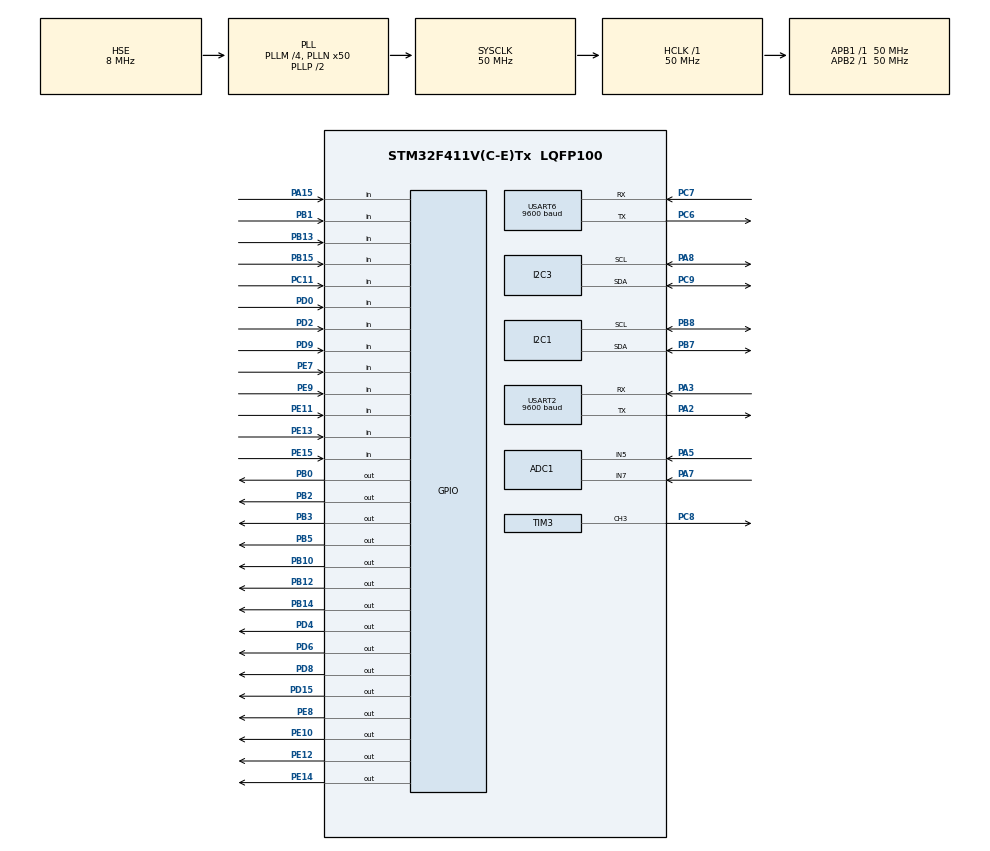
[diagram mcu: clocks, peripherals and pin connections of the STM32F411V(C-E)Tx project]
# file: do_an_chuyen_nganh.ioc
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Mcu.Family=STM32F4
PB10.PinState=GPIO_PIN_SET
PE15.GPIO_Mode=GPIO_MODE_INPUT
PE7.GPIO_PuPd=GPIO_PULLUP
PE8.PinState=GPIO_PIN_SET
PB15.GPIO_Mode=GPIO_MODE_INPUT
PE14.GPIO_Speed=GPIO_SPEED_FREQ_HIGH
RCC.CortexFreq_Value=50000000
PB10.GPIO_Speed=GPIO_SPEED_FREQ_HIGH
PA15.GPIO_Mode=GPIO_MODE_INPUT
PD15.GPIO_Speed=GPIO_SPEED_FREQ_LOW
PB2.GPIO_Speed=GPIO_SPEED_FREQ_HIGH
PD2.GPIO_Mode=GPIO_MODE_INPUT
PD8.GPIO_PuPd=GPIO_PULLDOWN
PB13.Signal=GPIO_Input
PB15.Signal=GPIO_Input
PB3.GPIO_Speed=GPIO_SPEED_FREQ_HIGH
RCC.SYSCLKSource=RCC_SYSCLKSOURCE_PLLCLK
ProjectManager.StackSize=0x400
PE13.GPIO_Mode=GPIO_MODE_INPUT
PC11.GPIO_PuPd=GPIO_PULLUP
PH0\ -\ OSC_IN.Signal=RCC_OSC_IN
PB0.PinState=GPIO_PIN_SET
PE11.GPIO_PuPd=GPIO_PULLUP
PB3.PinState=GPIO_PIN_SET
PB1.GPIO_PuPd=GPIO_PULLUP
RCC.HCLKFreq_Value=50000000
PB13.GPIO_Mode=GPIO_MODE_INPUT
PD4.Signal=GPIO_Output
RCC.APB2TimFreq_Value=50000000
TIM3.Period=999
Dma.ADC1.0.Direction=DMA_PERIPH_TO_MEMORY
ADC1.Channel-2\#ChannelRegularConversion=ADC_CHANNEL_7
PC7.Signal=USART6_RX
PB5.PinState=GPIO_PIN_SET
PB12.PinState=GPIO_PIN_SET
PD0.Signal=GPIO_Input
PD8.Signal=GPIO_Output
NVIC.DMA2_Stream0_IRQn=true\:0\:0\:false\:false\:true\:false\:true
PE14.PinState=GPIO_PIN_SET
Dma.ADC1.0.MemDataAlignment=DMA_MDATAALIGN_HALFWORD
RCC.AHBFreq_Value=50000000
TIM3.Pulse-PWM\ Generation3\ CH3=500
RCC.HSE_VALUE=8000000
PB2.Signal=GPIO_Output
PE13.GPIO_PuPd=GPIO_PULLUP
PD15.PinState=GPIO_PIN_RESET
ADC1.Rank-2\#ChannelRegularConversion=2
PE13.Signal=GPIO_Input
PE9.Signal=GPIO_Input
PA14.Mode=Serial_Wire
TIM3.Prescaler=999
Dma.ADC1.0.PeriphInc=DMA_PINC_DISABLE
PC9.Mode=I2C
PD6.PinState=GPIO_PIN_SET
PB7.Signal=I2C1_SDA
PA8.Signal=I2C3_SCL
PE10.GPIO_Speed=GPIO_SPEED_FREQ_HIGH
PE10.Signal=GPIO_Output
PE9.GPIO_Mode=GPIO_MODE_INPUT
Mcu.Package=LQFP100
PB1.Signal=GPIO_Input
PB15.GPIO_PuPd=GPIO_PULLUP
USART2.VirtualMode=VM_ASYNC
USART6.VirtualMode=VM_ASYNC
PA15.Signal=GPIO_Input
USART6.BaudRate=9600
PE12.GPIO_Speed=GPIO_SPEED_FREQ_HIGH
PB5.GPIO_Speed=GPIO_SPEED_FREQ_HIGH
PE8.GPIO_Speed=GPIO_SPEED_FREQ_HIGH
RCC.APB1TimFreq_Value=50000000
PD0.GPIO_Mode=GPIO_MODE_INPUT
Dma.ADC1.0.FIFOMode=DMA_FIFOMODE_DISABLE
PE7.Signal=GPIO_Input
PD6.Signal=GPIO_Output
Dma.Request0=ADC1
PD9.GPIO_PuPd=GPIO_PULLUP
PD15.Signal=GPIO_Output
VP_TIM3_VS_ClockSourceINT.Mode=Internal
PA3.Signal=USART2_RX
PE10.PinState=GPIO_PIN_SET
RCC.PLLSourceVirtual=RCC_PLLSOURCE_HSE
Dma.ADC1.0.Instance=DMA2_Stream0
PD2.GPIO_PuPd=GPIO_PULLUP
PC11.Signal=GPIO_Input
PD9.GPIO_Mode=GPIO_MODE_INPUT
PH1\ -\ OSC_OUT.Mode=HSE-External-Oscillator
PC8.Signal=S_TIM3_CH3
PC6.Signal=USART6_TX
PD9.Signal=GPIO_Input
SH.S_TIM3_CH3.0=TIM3_CH3,PWM Generation3 CH3
NVIC.USART2_IRQn=true\:0\:0\:false\:false\:true\:true\:true
USART2.BaudRate=9600
ADC1.SamplingTime-2\#ChannelRegularConversion=ADC_SAMPLETIME_144CYCLES
NVIC.USART6_IRQn=true\:0\:0\:false\:false\:true\:true\:true
PB0.GPIO_Speed=GPIO_SPEED_FREQ_HIGH
PA3.Mode=Asynchronous
PA13.Signal=SYS_JTMS-SWDIO
TIM3.Channel-PWM\ Generation3\ CH3=TIM_CHANNEL_3
PD4.PinState=GPIO_PIN_SET
Dma.ADC1.0.PeriphDataAlignment=DMA_PDATAALIGN_HALFWORD
PH0\ -\ OSC_IN.Mode=HSE-External-Oscillator
PB14.PinState=GPIO_PIN_SET
ProjectManager.TargetToolchain=STM32CubeIDE
PB14.GPIO_Speed=GPIO_SPEED_FREQ_HIGH
SH.ADCx_IN7.0=ADC1_IN7,IN7
Dma.ADC1.0.Mode=DMA_NORMAL
PC6.Mode=Asynchronous
Dma.ADC1.0.Priority=DMA_PRIORITY_LOW
PB1.GPIO_Mode=GPIO_MODE_INPUT
ADC1.Channel-1\#ChannelRegularConversion=ADC_CHANNEL_5
PE11.Signal=GPIO_Input
RCC.LSE_VALUE=32768
PB12.GPIO_Speed=GPIO_SPEED_FREQ_HIGH
PE7.GPIO_Mode=GPIO_MODE_INPUT
PB10.Signal=GPIO_Output
PB14.Signal=GPIO_Output
PA5.Signal=ADCx_IN5
PH1\ -\ OSC_OUT.Signal=RCC_OSC_OUT
board=custom
RCC.VCOOutputFreq_Value=100000000
PB13.GPIO_PuPd=GPIO_PULLUP
RCC.APB2Freq_Value=50000000
PE14.Signal=GPIO_Output
PE15.Signal=GPIO_Input
PE8.Signal=GPIO_Output
PD4.GPIO_Speed=GPIO_SPEED_FREQ_HIGH
PC11.GPIO_Mode=GPIO_MODE_INPUT
PE11.GPIO_Mode=GPIO_MODE_INPUT
ADC1.NbrOfConversion=2
PA13.Mode=Serial_Wire
Mcu.Name=STM32F411V(C-E)Tx
PB2.PinState=GPIO_PIN_SET
PE12.Signal=GPIO_Output
PA2.Signal=USART2_TX
PE12.PinState=GPIO_PIN_SET
RCC.48MHZClocksFreq_Value=25000000
PB3.Signal=GPIO_Output
ADC1.SamplingTime-1\#ChannelRegularConversion=ADC_SAMPLETIME_144CYCLES
RCC.SYSCLKFreq_VALUE=50000000
PB5.Signal=GPIO_Output
ADC1.master=1
ADC1.Rank-1\#ChannelRegularConversion=1
PB7.Mode=I2C
PA14.Signal=SYS_JTCK-SWCLK
Dma.ADC1.0.MemInc=DMA_MINC_ENABLE
PE15.GPIO_PuPd=GPIO_PULLUP
ProjectManager.HeapSize=0x200
PD0.GPIO_PuPd=GPIO_PULLUP
RCC.HSI_VALUE=16000000
PD8.GPIO_Speed=GPIO_SPEED_FREQ_LOW
SH.ADCx_IN5.0=ADC1_IN5,IN5
NVIC.PriorityGroup=NVIC_PRIORITYGROUP_4
ADC1.NbrOfConversionFlag=1
RCC.PLLM=4
PB8.Mode=I2C
RCC.PLLN=50
PA15.GPIO_PuPd=GPIO_PULLUP
PA2.Mode=Asynchronous
PB8.Signal=I2C1_SCL
PA8.Mode=I2C
PC9.Signal=I2C3_SDA
PC7.Mode=Asynchronous
PD2.Signal=GPIO_Input
RCC.APB1Freq_Value=50000000
PD6.GPIO_Speed=GPIO_SPEED_FREQ_HIGH
PB0.Signal=GPIO_Output
PB12.Signal=GPIO_Output
PA7.Signal=ADCx_IN7
PE9.GPIO_PuPd=GPIO_PULLUP

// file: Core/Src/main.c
/* USER CODE BEGIN Header */
/**
  ******************************************************************************
  * @file           : main.c
  * @brief          : Main program body
  ******************************************************************************
  * @attention
  *
  * <h2><center>&copy; Copyright (c) 2021 STMicroelectronics.
  * All rights reserved.</center></h2>
  *
  * This software component is licensed by ST under BSD 3-Clause license,
  * the "License"; You may not use this file except in compliance with the
  * License. You may obtain a copy of the License at:
  *                        opensource.org/licenses/BSD-3-Clause
  *
  ******************************************************************************
  */
/* USER CODE END Header */
#include "main.h"

/* USER CODE BEGIN Includes */
#include "stdio.h"
#include <stdbool.h>
#include <stdint.h>
#include <string.h>
#include <stdlib.h>
#include <i2c-lcd.h>
/* USER CODE END Includes */

ADC_HandleTypeDef hadc1;
DMA_HandleTypeDef hdma_adc1;

I2C_HandleTypeDef hi2c1;
I2C_HandleTypeDef hi2c3;

TIM_HandleTypeDef htim3;

UART_HandleTypeDef huart2;
UART_HandleTypeDef huart6;

/* USER CODE BEGIN PV */
#ifdef __GNUC__
     #define PUTCHAR_PROTOTYPE int __io_putchar(int ch)
#else
     #define PUTCHAR_PROTOTYPE int fputc(int ch, FILE *f)
#endif
PUTCHAR_PROTOTYPE
{
	HAL_UART_Transmit(&huart6,(uint8_t *)&ch,1,0xFFFF); //pc
	return ch;
}
uint8_t key;
int x = 0;
int y = 1;
char buffer [100] ;
char time_buffer[10];
char timer [20];
char pass [10] = "1234" ;
uint16_t value[2];
#define size 500
uint8_t rx_data6, rx_index6;   ////////du lieu nhan luu vao rx_data6
char rx_buffer6[size];
uint8_t rx_data2, rx_index2;   ////////du lieu nhan luu vao rx_data2
char rx_buffer2[size];
uint16_t temp =0, gas = 0;
char DATA[100];
char Str_temp[100];
char Str_gas[100];
int TTTB1 = 0,  TTTB2 = 0, TTTB3 = 0, TTTB4 = 0, TTTB5 = 0,  TTTB6 = 0;
char Str_TB1[5], Str_TB2[5], Str_TB3[5], Str_TB4[5], Str_TB5[5], Str_TB6[5] ;
long last = 0 ;
char Length[100];
uint8_t decToBcd(uint8_t t);
uint8_t bcdToDec(uint8_t t);
#define DS3231_ADDRESS (0x68<<1)
#define DS3231_REG_TIME (0X00)
#define DS3231_REG_ALARM_1 (0X07)
#define DS3231_REG_ALARM_2 (0X0B)
#define DS3231_REG_CONTROL (0X0E)
#define DS3231_REG_STATUS  (0X0F)
uint8_t decToBcd(uint8_t t) 						//đổi số thập phân bình thư�?ng thành số thập phân được mã hóa nhị phân
{
  return (t/10)<<4 | (t%10);
}
uint8_t bcdToDec(uint8_t t)						//đổi số thập phân được mã hóa nhị phân thành số thập phân bình thư�?ng
{
  return (t>>4)*10 + (t&0x0f);
}
typedef struct									//khai báo 1 struct để phục vụ cho việc đ�?c ghi dữ liệu th�?i gian thực
{
	uint8_t seconds ;
	uint8_t minutes ;
	uint8_t hour ;
	uint8_t day ;
	uint8_t date  ;
	uint8_t month ;
	uint8_t year ;

}TIME;
TIME time1 ;

void Set_Time (uint8_t sec, uint8_t min, uint8_t hour, uint8_t day, uint8_t date, uint8_t month, uint8_t year)
{
	uint8_t set_time1[7];
	set_time1[0] = decToBcd(sec);
	set_time1[1] = decToBcd(min);
	set_time1[2] = decToBcd(hour);
	set_time1[3] = decToBcd(day);
	set_time1[4] = decToBcd(date);
	set_time1[5] = decToBcd(month);
	set_time1[6] = decToBcd(year);

	HAL_I2C_Mem_Write(&hi2c3, DS3231_ADDRESS, 0x00, 1, set_time1, 7, 1000);
}
void Get_Time (void)
{
	uint8_t get_time[7];
	HAL_I2C_Mem_Read(&hi2c3, DS3231_ADDRESS, 0x00, 1, get_time, 7, 1000);
	time1.seconds = bcdToDec(get_time[0]);
	time1.minutes = bcdToDec(get_time[1]);
	time1.hour = bcdToDec(get_time[2]);
	time1.day = bcdToDec(get_time[3]);
	time1.date = bcdToDec(get_time[4]);
	time1.month = bcdToDec(get_time[5]);
	time1.year = bcdToDec(get_time[6]);
}
/* USER CODE END PV */

void SystemClock_Config(void);
static void MX_GPIO_Init(void);
static void MX_DMA_Init(void);
static void MX_ADC1_Init(void);
static void MX_I2C1_Init(void);
static void MX_I2C3_Init(void);
static void MX_TIM3_Init(void);
static void MX_USART2_UART_Init(void);
static void MX_USART6_UART_Init(void);
/* USER CODE BEGIN PFP */
void SendData(void);
void 	ReceivedEnd(void);
void HAL_UART_RxCpltCallback(UART_HandleTypeDef *huart);
void clearbufferEnd(void);
void XuLy(void);
void Button(void);
void cambien(void);
char keypad(void);
void CheckPass (void);
void clearBuffer(void);
void RtC(void);
void Data( unsigned int temp, unsigned int gas, unsigned int TB1 , unsigned int TB2,  unsigned int TB3,  unsigned int TB4, unsigned int TB5, unsigned int TB6);

/* USER CODE END PFP */

/* USER CODE BEGIN 0 */
void clearBuffer()
{
	for(int i = 0 ; i < 100 ; i++)
							{
								buffer[i] = 0 ;
							}
					y=1;
					key =0;
							lcd_clear ();
							keypad();
}
void CheckPass  ()
{
	int compare = 1;
	compare = strcmp (buffer, pass);
	if(compare == 0)
	{
		lcd_clear();
		lcd_put_cur(1,3);
		lcd_send_string ("Open Door");
		HAL_Delay(1000);
		clearBuffer();
		__HAL_TIM_SET_COMPARE(&htim3, TIM_CHANNEL_3, 125);

	}
	else
	{
		lcd_clear();
		lcd_put_cur(1,5);
		lcd_send_string ("ERORR");
		HAL_Delay(1000);
		clearBuffer();

	}
}
char keypad()
{
	HAL_GPIO_WritePin  (GPIOB,GPIO_PIN_5,GPIO_PIN_RESET);   // Kéo R1 xuống thấp
	HAL_GPIO_WritePin  (GPIOB,GPIO_PIN_3,GPIO_PIN_SET);   // Kéo R2 cao
	HAL_GPIO_WritePin  (GPIOD,GPIO_PIN_6,GPIO_PIN_SET);   // Kéo R3 cao
	HAL_GPIO_WritePin  (GPIOD,GPIO_PIN_4,GPIO_PIN_SET);   // Kéo R4 cao

	if  ( (HAL_GPIO_ReadPin(GPIOD,GPIO_PIN_2))==0)    // nếu Col 1 thấp
	{
		return  '1' ;
	}

	if  (  (HAL_GPIO_ReadPin(GPIOD,GPIO_PIN_0))==0)    // nếu Col 2 thấp
	{
		return  '2';
	}

	if  (  (HAL_GPIO_ReadPin  (GPIOC,GPIO_PIN_11))==0)    // nếu Col 3 thấp
	{
		return  '3';
	}

	if  (  (HAL_GPIO_ReadPin  (GPIOA,GPIO_PIN_15))==0)    // nếu Col 4 thấp
	{
		CheckPass();
		clearBuffer();
		return 0;
	}
	HAL_GPIO_WritePin  (GPIOB,GPIO_PIN_5,GPIO_PIN_SET);
		HAL_GPIO_WritePin  (GPIOB,GPIO_PIN_3,GPIO_PIN_RESET);
		HAL_GPIO_WritePin  (GPIOD,GPIO_PIN_6,GPIO_PIN_SET);
		HAL_GPIO_WritePin  (GPIOD,GPIO_PIN_4,GPIO_PIN_SET);

		if  ( (HAL_GPIO_ReadPin(GPIOD,GPIO_PIN_2))==0)
		{
			return  '4' ;
		}

		if  (  (HAL_GPIO_ReadPin(GPIOD,GPIO_PIN_0))==0)
		{
			return  '5';
		}

		if  (  (HAL_GPIO_ReadPin  (GPIOC,GPIO_PIN_11))==0)
		{
			return  '6';
		}

		if  (  (HAL_GPIO_ReadPin  (GPIOA,GPIO_PIN_15))==0)
		{
			if(x>0)
			{
				HAL_Delay (200);
				buffer [strlen (buffer) - 1] = 0;
				lcd_clear();
				lcd_put_cur(1,1);
				lcd_send_string (buffer);
				y--;
				key=0;
			}
			return 0;
		}
		HAL_GPIO_WritePin  (GPIOB,GPIO_PIN_5,GPIO_PIN_SET);
			HAL_GPIO_WritePin  (GPIOB,GPIO_PIN_3,GPIO_PIN_SET);
			HAL_GPIO_WritePin  (GPIOD,GPIO_PIN_6,GPIO_PIN_RESET);
			HAL_GPIO_WritePin  (GPIOD,GPIO_PIN_4,GPIO_PIN_SET);

			if  ( (HAL_GPIO_ReadPin(GPIOD,GPIO_PIN_2))==0)
			{
				return  '7' ;
			}

			if  (  (HAL_GPIO_ReadPin(GPIOD,GPIO_PIN_0))==0)
			{
				return  '8';
			}

			if  (  (HAL_GPIO_ReadPin  (GPIOC,GPIO_PIN_11))==0)
			{
				return  '9';
			}

			if  (  (HAL_GPIO_ReadPin  (GPIOA,GPIO_PIN_15))==0)
			{
				clearBuffer();
				return 0;
			}
			HAL_GPIO_WritePin  (GPIOB,GPIO_PIN_5,GPIO_PIN_SET);
				HAL_GPIO_WritePin  (GPIOB,GPIO_PIN_3,GPIO_PIN_SET);
				HAL_GPIO_WritePin  (GPIOD,GPIO_PIN_6,GPIO_PIN_SET);
				HAL_GPIO_WritePin  (GPIOD,GPIO_PIN_4,GPIO_PIN_RESET);

				if  ( (HAL_GPIO_ReadPin(GPIOD,GPIO_PIN_2))==0)
				{
					return  '*' ;
				}

				if  (  (HAL_GPIO_ReadPin(GPIOD,GPIO_PIN_0))==0)
				{
					return  '0';
				}

				if  (  (HAL_GPIO_ReadPin  (GPIOC,GPIO_PIN_11))==0)
				{
					return  '#';
				}

				if  (  (HAL_GPIO_ReadPin  (GPIOA,GPIO_PIN_15))==0)
				{
					__HAL_TIM_SET_COMPARE(&htim3, TIM_CHANNEL_3, 25);

						return 0;
				}
}
void matkhau(void )
{
		keypad();
		  key = keypad();
		  if (HAL_GPIO_ReadPin(GPIOD,GPIO_PIN_2)==0 || HAL_GPIO_ReadPin(GPIOD,GPIO_PIN_0)==0 ||HAL_GPIO_ReadPin (GPIOC,GPIO_PIN_11)==0||HAL_GPIO_ReadPin (GPIOA,GPIO_PIN_15)==0)
		  {
		x = strlen (buffer);
		for ( int i = x; i<=x +1; i ++)
			buffer[x]= key  ;
		  }
		  lcd_put_cur(0,1);
		  lcd_send_string ("Enter Password ");
		  lcd_put_cur(1,1);
		  lcd_send_string (buffer);
//		  y = strlen (buffer);
//		 		  if(y==4)
//		 		  {
//		 			  CheckPass  ();
//		 		  }
		  HAL_Delay(150);
}

void RtC()
{
	Get_Time();
	sprintf(time_buffer, "%d:%d", time1.hour, time1.minutes);
	lcd_put_cur1(2,7);
	lcd_send_string1(time_buffer);
	printf("time :: %d:%d:%d   ", time1.hour, time1.minutes, time1.seconds);
	sprintf (time_buffer, "%02d-%02d-%02d", time1.date, time1.month, time1.year + 2000);
	lcd_put_cur1(3,0);
	lcd_send_string1(time_buffer);
	printf("date :: %d:%d:%d \r\n", time1.date, time1.month, time1.year + 2000);
}
void cambien()
{
	HAL_ADC_Start_DMA(&hadc1,(uint32_t*)value,2);
	temp = value[0]*0.0732 - 3;
	gas = value[1]*0.02442;
	printf("gas: %d\n", gas );
	printf("temp: %d\n", temp );
	lcd_put_cur1(0,0);
	lcd_send_string1("temp: ");
	lcd_put_cur1(0,7);
	lcd_send_string1 (temp);
	lcd_put_cur1(0,10);
	lcd_send_string1 (" C");
	lcd_put_cur1(0,8);
	lcd_send_string1 ("gas: ");
	lcd_put_cur1(0,14);
	lcd_send_string1 (gas);
	lcd_put_cur1(0,18);
	lcd_send_string1 ("%");
	if(temp>50||gas>25)
	{
		HAL_GPIO_WritePin(GPIOD, GPIO_PIN_8, SET);
	}
	else
	{
		HAL_GPIO_WritePin(GPIOD, GPIO_PIN_8, RESET);
	}
}
void Button()
{
	if(HAL_GPIO_ReadPin(GPIOB, GPIO_PIN_1) == 0)  // den1
		{
			HAL_Delay(10);
			while(1)
			{

				last = HAL_GetTick();
				if(HAL_GPIO_ReadPin(GPIOB, GPIO_PIN_1) == 1)
				{
					if(TTTB1 == 0)
					{
						TTTB1 = 1; //TB1 = 1;
						HAL_GPIO_WritePin(GPIOB, GPIO_PIN_0, RESET);
					}
					else if(TTTB1 == 1)
					{
						TTTB1 = 0;//TB1 = 0;
						 HAL_GPIO_WritePin(GPIOB, GPIO_PIN_0, SET);
					}
					HAL_Delay(10);
					break;
				}
			}
		}

		if(HAL_GPIO_ReadPin(GPIOE, GPIO_PIN_7) == 0)     //quat 1
		{
			HAL_Delay(10);
			while(1)
			{
				last = HAL_GetTick();
				if(HAL_GPIO_ReadPin(GPIOE, GPIO_PIN_7) == 1)
				{
					if(TTTB2 == 0)
					{
						TTTB2 = 1; //TB2 = 1;
						HAL_GPIO_WritePin(GPIOE, GPIO_PIN_12, RESET);
					}
					else if(TTTB2 == 1)
					{
						TTTB2 = 0; //TB2 = 0;
						HAL_GPIO_WritePin(GPIOE, GPIO_PIN_12, SET);
					}
					HAL_Delay(10);

					break;

				}
			}
		}
		if(HAL_GPIO_ReadPin(GPIOE, GPIO_PIN_13) == 0)		//den 2          ///////////////
			{
				HAL_Delay(10);
				while(1)
				{

					last = HAL_GetTick();
					if(HAL_GPIO_ReadPin(GPIOE, GPIO_PIN_13) == 1)
					{
						if(TTTB3 == 0)
						{
							TTTB3 = 1; //TB3 = 1;
							HAL_GPIO_WritePin(GPIOB, GPIO_PIN_2, RESET);
						}
						else if(TTTB3 == 1)
						{
							TTTB3 = 0;  //TB3 = 0;
							 HAL_GPIO_WritePin(GPIOB, GPIO_PIN_2, SET);
						}
						HAL_Delay(10);
						break;
					}
				}
			}
		if(HAL_GPIO_ReadPin(GPIOE, GPIO_PIN_15) == 0)		//quat2
				{
					HAL_Delay(10);
					while(1)
					{

						last = HAL_GetTick();
						if(HAL_GPIO_ReadPin(GPIOE, GPIO_PIN_15) == 1)
						{
							if(TTTB4 == 0)
							{
								TTTB4 = 1; //TB4 = 1;
								HAL_GPIO_WritePin(GPIOE, GPIO_PIN_14, RESET);///////////////
							}
							else if(TTTB4 == 1)
							{
								TTTB4 = 0;   //TB4 = 0;
								 HAL_GPIO_WritePin(GPIOE, GPIO_PIN_14, SET);
							}
							HAL_Delay(10);
							break;
						}
					}
				}

		if(HAL_GPIO_ReadPin(GPIOE, GPIO_PIN_9) == 0)		//den3
					{
						HAL_Delay(10);
						while(1)
						{

							last = HAL_GetTick();
							if(HAL_GPIO_ReadPin(GPIOE, GPIO_PIN_9) == 1)
							{
								if(TTTB5 == 0)
								{
									TTTB5 = 1;     //TB5=1;
									HAL_GPIO_WritePin(GPIOE, GPIO_PIN_8, RESET);
								}
								else if(TTTB5 == 1)
								{
									TTTB5 = 0;         // TB5=0;
									 HAL_GPIO_WritePin(GPIOE, GPIO_PIN_8, SET);
								}
								HAL_Delay(10);
								break;
							}
						}
					}
		if(HAL_GPIO_ReadPin(GPIOE, GPIO_PIN_11) == 0)		//quat 3
					{
						HAL_Delay(10);
						while(1)
						{

							last = HAL_GetTick();
							if(HAL_GPIO_ReadPin(GPIOE, GPIO_PIN_11) == 1)
							{
								if(TTTB6 == 0)
								{
									TTTB6= 1;
									//TB6= 1;
									HAL_GPIO_WritePin(GPIOB, GPIO_PIN_10, RESET);
								}
								else if(TTTB6 == 1)
								{
									TTTB6 = 0;
									//TB6=0;
									 HAL_GPIO_WritePin(GPIOB, GPIO_PIN_10, SET);
								}
								HAL_Delay(10);
								break;
							}
						}
					}
	if(HAL_GPIO_ReadPin(GPIOB, GPIO_PIN_13)==1)
		  {
			  HAL_GPIO_WritePin(GPIOE, GPIO_PIN_10, RESET);

			  HAL_GPIO_WritePin(GPIOB, GPIO_PIN_12, RESET);
		  }
	else
		  {
			  HAL_GPIO_WritePin(GPIOE, GPIO_PIN_10, SET);

			  HAL_GPIO_WritePin(GPIOB, GPIO_PIN_12, SET);
		  }
	last = HAL_GetTick();
}
void XuLy()
{
	if(strstr(rx_buffer2,"TB1=1") != NULL)
		{
			if(TTTB1==0)
			{
				TTTB1=1;
				//TB1=1;
				HAL_GPIO_WritePin(GPIOB, GPIO_PIN_0, GPIO_PIN_RESET);
			}
		}
	last = HAL_GetTick();
	if(strstr(rx_buffer2,"TB1=0") != NULL)
		{
		if(TTTB1==1)
			{
				TTTB1=0;
				//TB1=0;
				HAL_GPIO_WritePin(GPIOB, GPIO_PIN_0, GPIO_PIN_SET);
			}
		}
	last = HAL_GetTick();///////////////////////////////
	if(strstr(rx_buffer2,"TB2=1") != NULL)
		{
		if(TTTB2==0)
			{
				TTTB2=1; //TB2=1;
				HAL_GPIO_WritePin(GPIOE, GPIO_PIN_12, GPIO_PIN_RESET);
			}
		}
	last = HAL_GetTick();
	if(strstr(rx_buffer2,"TB2=0") != NULL)
		{
		if(TTTB2==1)
			{
				TTTB2=0; //TB2=0;
				HAL_GPIO_WritePin(GPIOE, GPIO_PIN_12, GPIO_PIN_SET);
			}
		}//////////////////////////////////////////////////
	last = HAL_GetTick();
	if(strstr(rx_buffer2,"TB3=1") != NULL)
			{
			if(TTTB3==0)
				{
					TTTB3=1; //TB3=1;
					HAL_GPIO_WritePin(GPIOB, GPIO_PIN_2, GPIO_PIN_RESET);
				}
			}
	last = HAL_GetTick();
		if(strstr(rx_buffer2,"TB3=0") != NULL)
			{
			if(TTTB3==1)
				{
					TTTB3=0; //TB3=0;
					HAL_GPIO_WritePin(GPIOB, GPIO_PIN_2, GPIO_PIN_SET);
				}
			}////////////////////////////////////////////////////
		last = HAL_GetTick();
		if(strstr(rx_buffer2,"TB4=1") != NULL)
					{
					if(TTTB4==0)
						{
							TTTB4=1; //TB4=1;
							HAL_GPIO_WritePin(GPIOE, GPIO_PIN_14, GPIO_PIN_RESET); ////////////////////////////////////
						}
					}
			last = HAL_GetTick();
				if(strstr(rx_buffer2,"TB4=0") != NULL)
					{
					if(TTTB4==1)
						{
							TTTB4=0;  //TB4=0;
							HAL_GPIO_WritePin(GPIOE, GPIO_PIN_14, GPIO_PIN_SET);
						}
					}///////////////////////////////////////////
				last = HAL_GetTick();
				if(strstr(rx_buffer2,"TB5=1") != NULL)
							{
							if(TTTB5==0)
								{
									TTTB5=1;
									//TB5=1;
									HAL_GPIO_WritePin(GPIOE, GPIO_PIN_8, GPIO_PIN_RESET);
								}
							}
					last = HAL_GetTick();
						if(strstr(rx_buffer2,"TB5=0") != NULL)
							{
							if(TTTB5==1)
								{
									TTTB5=0;
									//TB5=0;
									HAL_GPIO_WritePin(GPIOE, GPIO_PIN_8, GPIO_PIN_SET);
								}
							}/////////////////////////////////////////////////
						last = HAL_GetTick();
						if(strstr(rx_buffer2,"TB6=1") != NULL)
									{
									if(TTTB6==0)
										{
											TTTB6=1;
											//TB6=1;
											HAL_GPIO_WritePin(GPIOB, GPIO_PIN_10, GPIO_PIN_RESET);
										}
									}
							last = HAL_GetTick();
								if(strstr(rx_buffer2,"TB6=0") != NULL)
									{
									if(TTTB6==1)
										{
											TTTB6=0;
											//TB6=0;
											HAL_GPIO_WritePin(GPIOB, GPIO_PIN_10, GPIO_PIN_SET);
										}
									}/////////////////////////////////////////////////
								last = HAL_GetTick();
}
void HAL_UART_RxCpltCallback(UART_HandleTypeDef *huart)
{
if(huart -> Instance == USART2)
		{
		ReceivedEnd();
		HAL_UART_Receive_IT(&huart2,&rx_data2,1);
		last = HAL_GetTick() ;

		}
}
void 	ReceivedEnd(void)
{
	//xóa bộ đệm buffer
	if (rx_data2 != '\n')
	{
		rx_buffer2[rx_index2++] = rx_data2;
	}
	else
	{
		rx_index2 = 0;
		//printf("stm nhan :  %s\n",rx_buffer2);
		XuLy();
		clearbufferEnd();
	}

}
void clearbufferEnd(void)
{
	for(int i = 0 ; i < size ; i++)
		{
			rx_buffer2[i] = 0;
		}
		rx_index2 = 0;
}

void Data(unsigned int temp, unsigned int gas, unsigned int TTTB1 , unsigned int TTTB2,  unsigned int TTTB3,  unsigned int TTTB4, unsigned int TTTB5, unsigned int TTTB6)
{
	for(int i = 0 ; i <= 100; i++)
		{
			Str_temp[i] = 0;
			Str_gas[i] = 0;
			DATA[i] = 0;
		}
	for(int i = 0 ; i <= 5; i++)
			{
				Str_TB1[i] = 0;
				Str_TB2[i] = 0;
				Str_TB3[i] = 0;
				Str_TB4[i] = 0;
				Str_TB5[i] = 0;
				Str_TB6[i] = 0;
			}

		sprintf(Str_temp, "%d", temp);
		sprintf(Str_gas, "%d", gas);
		sprintf(Str_TB1, "%d", TTTB1);
		sprintf(Str_TB2, "%d", TTTB2);
		sprintf(Str_TB3, "%d", TTTB3);
		sprintf(Str_TB4, "%d", TTTB4);
		sprintf(Str_TB5, "%d", TTTB5);
		sprintf(Str_TB6, "%d", TTTB6);

				strcat(DATA,"A");
				strcat(DATA,Str_temp);

				strcat(DATA,"B");
				strcat(DATA,Str_gas);

				strcat(DATA,"C");
				strcat(DATA,Str_TB1);

				strcat(DATA,"D");
				strcat(DATA,Str_TB2);

				strcat(DATA,"E");
				strcat(DATA,Str_TB3);

				strcat(DATA,"F");
				strcat(DATA,Str_TB4);

				strcat(DATA,"G");
				strcat(DATA,Str_TB5);

				strcat(DATA,"H");
				strcat(DATA,Str_TB6);
				strcat(DATA,"J");
				strcat(DATA,"\r\n");
		//HAL_Delay(300);
		last = HAL_GetTick();

}
void SendData()
{
		  		Data(temp, gas, TTTB1, TTTB2, TTTB3, TTTB4, TTTB5, TTTB6 );
		  		HAL_UART_Transmit(&huart2,(uint8_t *)DATA ,strlen(DATA),500);
		  		//printf("pc    %s\n", DATA);
		  		last = HAL_GetTick();

}
/* USER CODE END 0 */

int main(void)
{

  /* MCU Configuration--------------------------------------------------------*/

  /* Reset of all peripherals, Initializes the Flash interface and the Systick. */
  HAL_Init();

  /* Configure the system clock */
  SystemClock_Config();

  /* Initialize all configured peripherals */
  MX_GPIO_Init();
  MX_DMA_Init();
  MX_ADC1_Init();
  MX_I2C1_Init();
  MX_I2C3_Init();
  MX_TIM3_Init();
  MX_USART2_UART_Init();
  MX_USART6_UART_Init();
  /* USER CODE BEGIN 2 */
  HAL_UART_Receive_IT(&huart6,&rx_data6,1);
  HAL_UART_Receive_IT(&huart2,&rx_data2,1);
  lcd_init();
  lcd_init1();
  lcd_clear();
  HAL_TIM_PWM_Start(&htim3, TIM_CHANNEL_3);
  __HAL_TIM_SET_COMPARE(&htim3, TIM_CHANNEL_3, 25);
  last = HAL_GetTick();
  /* USER CODE END 2 */

  /* Infinite loop */
  while (1)
  {

    /* USER CODE BEGIN 3 */
	  if(HAL_GetTick() - last >= 500)
	 	  {
	 		matkhau();
	 		RtC();
	 	  	cambien();
	 	  	Button();
	 	  	SendData();
	 	  	last = HAL_GetTick();
	 	  }
  }
  /* USER CODE END 3 */
}

void SystemClock_Config(void)
{
  RCC_OscInitTypeDef RCC_OscInitStruct = {0};
  RCC_ClkInitTypeDef RCC_ClkInitStruct = {0};

  /** Configure the main internal regulator output voltage
  */
  __HAL_RCC_PWR_CLK_ENABLE();
  __HAL_PWR_VOLTAGESCALING_CONFIG(PWR_REGULATOR_VOLTAGE_SCALE1);
  /** Initializes the RCC Oscillators according to the specified parameters
  * in the RCC_OscInitTypeDef structure.
  */
  RCC_OscInitStruct.OscillatorType = RCC_OSCILLATORTYPE_HSE;
  RCC_OscInitStruct.HSEState = RCC_HSE_ON;
  RCC_OscInitStruct.PLL.PLLState = RCC_PLL_ON;
  RCC_OscInitStruct.PLL.PLLSource = RCC_PLLSOURCE_HSE;
  RCC_OscInitStruct.PLL.PLLM = 4;
  RCC_OscInitStruct.PLL.PLLN = 50;
  RCC_OscInitStruct.PLL.PLLP = RCC_PLLP_DIV2;
  RCC_OscInitStruct.PLL.PLLQ = 4;
  if (HAL_RCC_OscConfig(&RCC_OscInitStruct) != HAL_OK)
  {
    Error_Handler();
  }
  /** Initializes the CPU, AHB and APB buses clocks
  */
  RCC_ClkInitStruct.ClockType = RCC_CLOCKTYPE_HCLK|RCC_CLOCKTYPE_SYSCLK
                              |RCC_CLOCKTYPE_PCLK1|RCC_CLOCKTYPE_PCLK2;
  RCC_ClkInitStruct.SYSCLKSource = RCC_SYSCLKSOURCE_PLLCLK;
  RCC_ClkInitStruct.AHBCLKDivider = RCC_SYSCLK_DIV1;
  RCC_ClkInitStruct.APB1CLKDivider = RCC_HCLK_DIV1;
  RCC_ClkInitStruct.APB2CLKDivider = RCC_HCLK_DIV1;

  if (HAL_RCC_ClockConfig(&RCC_ClkInitStruct, FLASH_LATENCY_1) != HAL_OK)
  {
    Error_Handler();
  }
}

static void MX_ADC1_Init(void)
{

  ADC_ChannelConfTypeDef sConfig = {0};

  /** Configure the global features of the ADC (Clock, Resolution, Data Alignment and number of conversion)
  */
  hadc1.Instance = ADC1;
  hadc1.Init.ClockPrescaler = ADC_CLOCK_SYNC_PCLK_DIV2;
  hadc1.Init.Resolution = ADC_RESOLUTION_12B;
  hadc1.Init.ScanConvMode = ENABLE;
  hadc1.Init.ContinuousConvMode = DISABLE;
  hadc1.Init.DiscontinuousConvMode = DISABLE;
  hadc1.Init.ExternalTrigConvEdge = ADC_EXTERNALTRIGCONVEDGE_NONE;
  hadc1.Init.ExternalTrigConv = ADC_SOFTWARE_START;
  hadc1.Init.DataAlign = ADC_DATAALIGN_RIGHT;
  hadc1.Init.NbrOfConversion = 2;
  hadc1.Init.DMAContinuousRequests = DISABLE;
  hadc1.Init.EOCSelection = ADC_EOC_SINGLE_CONV;
  if (HAL_ADC_Init(&hadc1) != HAL_OK)
  {
    Error_Handler();
  }
  /** Configure for the selected ADC regular channel its corresponding rank in the sequencer and its sample time.
  */
  sConfig.Channel = ADC_CHANNEL_5;
  sConfig.Rank = 1;
  sConfig.SamplingTime = ADC_SAMPLETIME_144CYCLES;
  if (HAL_ADC_ConfigChannel(&hadc1, &sConfig) != HAL_OK)
  {
    Error_Handler();
  }
  /** Configure for the selected ADC regular channel its corresponding rank in the sequencer and its sample time.
  */
  sConfig.Channel = ADC_CHANNEL_7;
  sConfig.Rank = 2;
  if (HAL_ADC_ConfigChannel(&hadc1, &sConfig) != HAL_OK)
  {
    Error_Handler();
  }

}

static void MX_I2C1_Init(void)
{

  hi2c1.Instance = I2C1;
  hi2c1.Init.ClockSpeed = 100000;
  hi2c1.Init.DutyCycle = I2C_DUTYCYCLE_2;
  hi2c1.Init.OwnAddress1 = 0;
  hi2c1.Init.AddressingMode = I2C_ADDRESSINGMODE_7BIT;
  hi2c1.Init.DualAddressMode = I2C_DUALADDRESS_DISABLE;
  hi2c1.Init.OwnAddress2 = 0;
  hi2c1.Init.GeneralCallMode = I2C_GENERALCALL_DISABLE;
  hi2c1.Init.NoStretchMode = I2C_NOSTRETCH_DISABLE;
  if (HAL_I2C_Init(&hi2c1) != HAL_OK)
  {
    Error_Handler();
  }

}

static void MX_I2C3_Init(void)
{

  hi2c3.Instance = I2C3;
  hi2c3.Init.ClockSpeed = 100000;
  hi2c3.Init.DutyCycle = I2C_DUTYCYCLE_2;
  hi2c3.Init.OwnAddress1 = 0;
  hi2c3.Init.AddressingMode = I2C_ADDRESSINGMODE_7BIT;
  hi2c3.Init.DualAddressMode = I2C_DUALADDRESS_DISABLE;
  hi2c3.Init.OwnAddress2 = 0;
  hi2c3.Init.GeneralCallMode = I2C_GENERALCALL_DISABLE;
  hi2c3.Init.NoStretchMode = I2C_NOSTRETCH_DISABLE;
  if (HAL_I2C_Init(&hi2c3) != HAL_OK)
  {
    Error_Handler();
  }

}

static void MX_TIM3_Init(void)
{

  TIM_ClockConfigTypeDef sClockSourceConfig = {0};
  TIM_MasterConfigTypeDef sMasterConfig = {0};
  TIM_OC_InitTypeDef sConfigOC = {0};

  htim3.Instance = TIM3;
  htim3.Init.Prescaler = 999;
  htim3.Init.CounterMode = TIM_COUNTERMODE_UP;
  htim3.Init.Period = 999;
  htim3.Init.ClockDivision = TIM_CLOCKDIVISION_DIV1;
  htim3.Init.AutoReloadPreload = TIM_AUTORELOAD_PRELOAD_DISABLE;
  if (HAL_TIM_Base_Init(&htim3) != HAL_OK)
  {
    Error_Handler();
  }
  sClockSourceConfig.ClockSource = TIM_CLOCKSOURCE_INTERNAL;
  if (HAL_TIM_ConfigClockSource(&htim3, &sClockSourceConfig) != HAL_OK)
  {
    Error_Handler();
  }
  if (HAL_TIM_PWM_Init(&htim3) != HAL_OK)
  {
    Error_Handler();
  }
  sMasterConfig.MasterOutputTrigger = TIM_TRGO_RESET;
  sMasterConfig.MasterSlaveMode = TIM_MASTERSLAVEMODE_DISABLE;
  if (HAL_TIMEx_MasterConfigSynchronization(&htim3, &sMasterConfig) != HAL_OK)
  {
    Error_Handler();
  }
  sConfigOC.OCMode = TIM_OCMODE_PWM1;
  sConfigOC.Pulse = 500;
  sConfigOC.OCPolarity = TIM_OCPOLARITY_HIGH;
  sConfigOC.OCFastMode = TIM_OCFAST_DISABLE;
  if (HAL_TIM_PWM_ConfigChannel(&htim3, &sConfigOC, TIM_CHANNEL_3) != HAL_OK)
  {
    Error_Handler();
  }
  HAL_TIM_MspPostInit(&htim3);

}

static void MX_USART2_UART_Init(void)
{

  huart2.Instance = USART2;
  huart2.Init.BaudRate = 9600;
  huart2.Init.WordLength = UART_WORDLENGTH_8B;
  huart2.Init.StopBits = UART_STOPBITS_1;
  huart2.Init.Parity = UART_PARITY_NONE;
  huart2.Init.Mode = UART_MODE_TX_RX;
  huart2.Init.HwFlowCtl = UART_HWCONTROL_NONE;
  huart2.Init.OverSampling = UART_OVERSAMPLING_16;
  if (HAL_UART_Init(&huart2) != HAL_OK)
  {
    Error_Handler();
  }

}

static void MX_USART6_UART_Init(void)
{

  huart6.Instance = USART6;
  huart6.Init.BaudRate = 9600;
  huart6.Init.WordLength = UART_WORDLENGTH_8B;
  huart6.Init.StopBits = UART_STOPBITS_1;
  huart6.Init.Parity = UART_PARITY_NONE;
  huart6.Init.Mode = UART_MODE_TX_RX;
  huart6.Init.HwFlowCtl = UART_HWCONTROL_NONE;
  huart6.Init.OverSampling = UART_OVERSAMPLING_16;
  if (HAL_UART_Init(&huart6) != HAL_OK)
  {
    Error_Handler();
  }

}

static void MX_DMA_Init(void)
{

  /* DMA controller clock enable */
  __HAL_RCC_DMA2_CLK_ENABLE();

  /* DMA interrupt init */
  /* DMA2_Stream0_IRQn interrupt configuration */
  HAL_NVIC_SetPriority(DMA2_Stream0_IRQn, 0, 0);
  HAL_NVIC_EnableIRQ(DMA2_Stream0_IRQn);

}

static void MX_GPIO_Init(void)
{
  GPIO_InitTypeDef GPIO_InitStruct = {0};

  /* GPIO Ports Clock Enable */
  __HAL_RCC_GPIOH_CLK_ENABLE();
  __HAL_RCC_GPIOA_CLK_ENABLE();
  __HAL_RCC_GPIOB_CLK_ENABLE();
  __HAL_RCC_GPIOE_CLK_ENABLE();
  __HAL_RCC_GPIOD_CLK_ENABLE();
  __HAL_RCC_GPIOC_CLK_ENABLE();

  /*Configure GPIO pin Output Level */
  HAL_GPIO_WritePin(GPIOB, GPIO_PIN_0|GPIO_PIN_2|GPIO_PIN_10|GPIO_PIN_12
                          |GPIO_PIN_14|GPIO_PIN_3|GPIO_PIN_5, GPIO_PIN_SET);

  /*Configure GPIO pin Output Level */
  HAL_GPIO_WritePin(GPIOE, GPIO_PIN_8|GPIO_PIN_10|GPIO_PIN_12|GPIO_PIN_14, GPIO_PIN_SET);

  /*Configure GPIO pin Output Level */
  HAL_GPIO_WritePin(GPIOD, GPIO_PIN_8|GPIO_PIN_15, GPIO_PIN_RESET);

  /*Configure GPIO pin Output Level */
  HAL_GPIO_WritePin(GPIOD, GPIO_PIN_4|GPIO_PIN_6, GPIO_PIN_SET);

  /*Configure GPIO pins : PB0 PB2 PB10 PB12
                           PB14 PB3 PB5 */
  GPIO_InitStruct.Pin = GPIO_PIN_0|GPIO_PIN_2|GPIO_PIN_10|GPIO_PIN_12
                          |GPIO_PIN_14|GPIO_PIN_3|GPIO_PIN_5;
  GPIO_InitStruct.Mode = GPIO_MODE_OUTPUT_PP;
  GPIO_InitStruct.Pull = GPIO_NOPULL;
  GPIO_InitStruct.Speed = GPIO_SPEED_FREQ_HIGH;
  HAL_GPIO_Init(GPIOB, &GPIO_InitStruct);

  /*Configure GPIO pins : PB1 PB13 PB15 */
  GPIO_InitStruct.Pin = GPIO_PIN_1|GPIO_PIN_13|GPIO_PIN_15;
  GPIO_InitStruct.Mode = GPIO_MODE_INPUT;
  GPIO_InitStruct.Pull = GPIO_PULLUP;
  HAL_GPIO_Init(GPIOB, &GPIO_InitStruct);

  /*Configure GPIO pins : PE7 PE9 PE11 PE13
                           PE15 */
  GPIO_InitStruct.Pin = GPIO_PIN_7|GPIO_PIN_9|GPIO_PIN_11|GPIO_PIN_13
                          |GPIO_PIN_15;
  GPIO_InitStruct.Mode = GPIO_MODE_INPUT;
  GPIO_InitStruct.Pull = GPIO_PULLUP;
  HAL_GPIO_Init(GPIOE, &GPIO_InitStruct);

  /*Configure GPIO pins : PE8 PE10 PE12 PE14 */
  GPIO_InitStruct.Pin = GPIO_PIN_8|GPIO_PIN_10|GPIO_PIN_12|GPIO_PIN_14;
  GPIO_InitStruct.Mode = GPIO_MODE_OUTPUT_PP;
  GPIO_InitStruct.Pull = GPIO_NOPULL;
  GPIO_InitStruct.Speed = GPIO_SPEED_FREQ_HIGH;
  HAL_GPIO_Init(GPIOE, &GPIO_InitStruct);

  /*Configure GPIO pin : PD8 */
  GPIO_InitStruct.Pin = GPIO_PIN_8;
  GPIO_InitStruct.Mode = GPIO_MODE_OUTPUT_PP;
  GPIO_InitStruct.Pull = GPIO_PULLDOWN;
  GPIO_InitStruct.Speed = GPIO_SPEED_FREQ_LOW;
  HAL_GPIO_Init(GPIOD, &GPIO_InitStruct);

  /*Configure GPIO pins : PD9 PD0 PD2 */
  GPIO_InitStruct.Pin = GPIO_PIN_9|GPIO_PIN_0|GPIO_PIN_2;
  GPIO_InitStruct.Mode = GPIO_MODE_INPUT;
  GPIO_InitStruct.Pull = GPIO_PULLUP;
  HAL_GPIO_Init(GPIOD, &GPIO_InitStruct);

  /*Configure GPIO pin : PD15 */
  GPIO_InitStruct.Pin = GPIO_PIN_15;
  GPIO_InitStruct.Mode = GPIO_MODE_OUTPUT_PP;
  GPIO_InitStruct.Pull = GPIO_NOPULL;
  GPIO_InitStruct.Speed = GPIO_SPEED_FREQ_LOW;
  HAL_GPIO_Init(GPIOD, &GPIO_InitStruct);

  /*Configure GPIO pin : PA15 */
  GPIO_InitStruct.Pin = GPIO_PIN_15;
  GPIO_InitStruct.Mode = GPIO_MODE_INPUT;
  GPIO_InitStruct.Pull = GPIO_PULLUP;
  HAL_GPIO_Init(GPIOA, &GPIO_InitStruct);

  /*Configure GPIO pin : PC11 */
  GPIO_InitStruct.Pin = GPIO_PIN_11;
  GPIO_InitStruct.Mode = GPIO_MODE_INPUT;
  GPIO_InitStruct.Pull = GPIO_PULLUP;
  HAL_GPIO_Init(GPIOC, &GPIO_InitStruct);

  /*Configure GPIO pins : PD4 PD6 */
  GPIO_InitStruct.Pin = GPIO_PIN_4|GPIO_PIN_6;
  GPIO_InitStruct.Mode = GPIO_MODE_OUTPUT_PP;
  GPIO_InitStruct.Pull = GPIO_NOPULL;
  GPIO_InitStruct.Speed = GPIO_SPEED_FREQ_HIGH;
  HAL_GPIO_Init(GPIOD, &GPIO_InitStruct);

}

void Error_Handler(void)
{
  __disable_irq();
  while (1)
  {
  }
}

/************************ (C) COPYRIGHT STMicroelectronics *****END OF FILE****/
